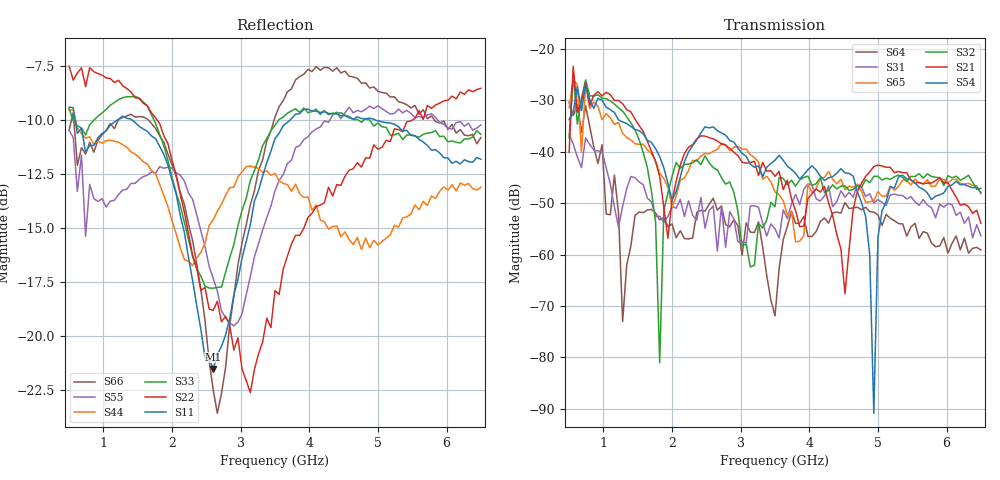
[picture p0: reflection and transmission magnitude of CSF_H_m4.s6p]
!Keysight Technologies,M9804A,MY58100912,A.14.10.03
!Date: Thursday, April 27, 2023 10:28:33
!Correction: S11(C  6-Port  )
!S12(C  6-Port  )
!S13(C  6-Port  )
!S14(C  6-Port  )
!S15(C  6-Port  )
!S16(C  6-Port  )
!S21(C  6-Port  )
!S22(C  6-Port  )
!S23(C  6-Port  )
!S24(C  6-Port  )
!S25(C  6-Port  )
!S26(C  6-Port  )
!S31(C  6-Port  )
!S32(C  6-Port  )
!S33(C  6-Port  )
!S34(C  6-Port  )
!S35(C  6-Port  )
!S36(C  6-Port  )
!S41(C  6-Port  )
!S42(C  6-Port  )
!S43(C  6-Port  )
!S44(C  6-Port  )
!S45(C  6-Port  )
!S46(C  6-Port  )
!S51(C  6-Port  )
!S52(C  6-Port  )
!S53(C  6-Port  )
!S54(C  6-Port  )
!S55(C  6-Port  )
!S56(C  6-Port  )
!S61(C  6-Port  )
!S62(C  6-Port  )
!S63(C  6-Port  )
!S64(C  6-Port  )
!S65(C  6-Port  )
!S66(C  6-Port  )
!S6P File: Measurement: :
# Hz S  RI  R 50
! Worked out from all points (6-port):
!   101 points, 500 MHz to 6.5 GHz, reference 50 ohm
!   strongest paths, dB at 500 MHz, 2 GHz, 3.5 GHz, 5 GHz, 6.5 GHz:
!     S54: -33.8, -49.4, -41.6, -56.7, -47.9
!     S21: -40.1, -49.6, -44.8, -42.6, -53.9
!     S32: -37.4, -44.8, -50.7, -44.8, -47.1
!     S65: -31.4, -50.9, -47.8, -47.8, -48.2
!     S31: -36.6, -50.6, -55.0, -49.3, -56.4
!     S64: -30.3, -54.1, -71.9, -52.3, -59.1
!   lowest |S11| = -21.5 dB at 2.6 GHz (marker M1), VSWR 1.18, Z = 42.5 + j2.16 ohm
!   |S11| at or under -10 dB: 589.3 MHz to 1.197 GHz (607.8 MHz wide, 68.1 % of centre); 1.421 GHz to 3.715 GHz (2.295 GHz wide, 89.4 % of centre); 4.975 GHz to end of sweep
